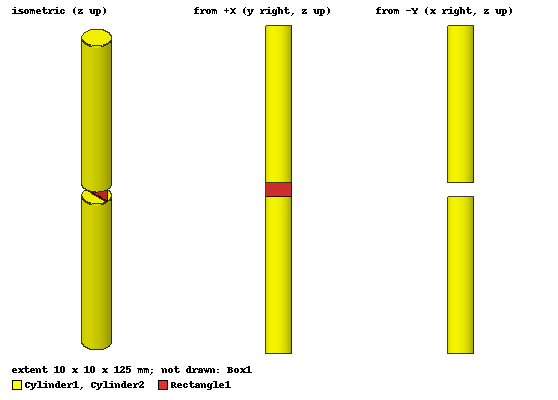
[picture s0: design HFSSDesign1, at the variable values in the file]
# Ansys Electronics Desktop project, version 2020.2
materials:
  vacuum: permittivity=1
  copper: permeability=0.999991 conductivity=58000000

design HFSSDesign1 (HFSS, DrivenModal, model units mm)
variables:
  rad = 5mm
  h = 6cm
  gap = 5mm
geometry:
  Cylinder1 [copper] = cylinder(axis=Z, base_centre=(0mm, 0mm, 0mm), radius=rad, height=h)
  Cylinder2 [copper] = cylinder(axis=Z, base_centre=(0mm, 0mm, 0mm), radius=rad, height=h)
  Cylinder2.move(0mm, 0mm, -h-gap)
  Rectangle1 = rectangle(corner=(0mm, -rad, 0mm), y_size=2*rad, z_size=-gap)
  Box1 [vacuum] = box(corner=(250mm, 250mm, 300mm), size=(-500mm, -500mm, -600mm))
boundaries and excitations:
  Rad1: Radiation Objects=Box1
  1: Lumped Port Objects=Rectangle1 Modes{Mode1{IntLine{middle of Rectangle1.edge(z opposite corner) -> middle of Rectangle1.edge(z at corner)} CharImp=Zpi RenormImp=50ohm}} Impedance=50ohm
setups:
  Setup1: HfssDriven Frequency=2.5GHz MaxDeltaS=0.02 MaximumPasses=6 MinimumPasses=1 MinimumConvergedPasses=1 PercentRefinement=30 BasisOrder=1 PortAccuracy=2
    sweep Sweep: 1.5GHz to 4.5GHz, 401 points; Type=Interpolating SaveFields InterpTolerance=0.5 InterpMaxSolns=250 InterpUsePortImped=false PassivityErrorTolerance=0.0001
    sweep Sweep1: point 3.2925GHz; Type=Discrete SaveFields
  Setup2: HfssDriven Frequency=3.2925GHz MaxDeltaS=0.02 MaximumPasses=6 MinimumPasses=1 MinimumConvergedPasses=1 PercentRefinement=30 BasisOrder=1 PortAccuracy=2
    sweep Sweep_3G2925Hz: 1.64625GHz to 4.93875GHz, 401 points; Type=Interpolating SaveFields InterpTolerance=0.5 InterpMaxSolns=250 InterpUsePortImped=false PassivityErrorTolerance=0.0001
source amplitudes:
  1:1: 1W 0deg
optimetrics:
  ParametricSetup1: Parametric Sim._Setups=[Setup1]
    sweep gap: LIN 2.5mm 7.5mm 2mm
  ParametricSetup2: Parametric Sim._Setups=[Setup1]
    sweep rad: LIN 2.5mm 7.5mm 2mm
  ParametricSetup3: Parametric Sim._Setups=[Setup1]
    sweep h: LIN 3cm 9cm 2cm
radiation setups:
  Infinite Sphere1: Infinite Sphere Theta=-180deg..180deg step 2deg Phi=-180deg..180deg step 2deg
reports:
  S Parameter Plot 1: dB(S(1,1)) vs Freq on Setup1 : Sweep; markers m1 at 3.2925GHz, m2 at 3.165GHz, m3 at 3.4425GHz
  S Parameter Plot 2: dB(S(1,1)) vs Freq on Setup1 : Sweep [gap=all]
  S Parameter Plot 4: dB(S(1,1)) vs Freq on Setup1 : Sweep; markers MY1 at y=-10.0811
  S Parameter Plot 5: dB(S(1,1)) vs Freq on Setup1 : Sweep
  Gain Plot 1: dB(GainTotal) vs Phi, Theta on Setup1 : LastAdaptive, Infinite Sphere1 [Freq=2.5GHz rad=2.5mm h=3cm gap=2.5mm]
  Gain Plot 2: dB(GainTotal) vs Phi, Theta on Setup1 : Sweep1, Infinite Sphere1 [Freq=3.2925GHz rad=5mm h=6cm gap=5mm]
  Z Parameter Plot 1: dB20(Z(1,1)) vs Freq on Setup1 : Sweep [rad=all h=all gap=all]; markers MX1 at x=3.0922948e+09
  Z Parameter Plot 2: dB20(Z(1,1)) vs Freq on Setup1 : Sweep [rad=2.5mm h=6cm gap=2.5mm]
  S Parameter Plot 6: dB(S(1,1)) vs Freq on Setup2 : Sweep_3G2925Hz [rad=all h=all gap=all]; markers m1 at 3.28426875GHz
  Z Parameter Plot 3: re(Z(1,1)), im(Z(1,1)) vs Freq on Setup2 : Sweep_3G2925Hz [rad=all h=all gap=all]; markers m1 at 3.15256875GHz, m2 at 2.732775GHz
